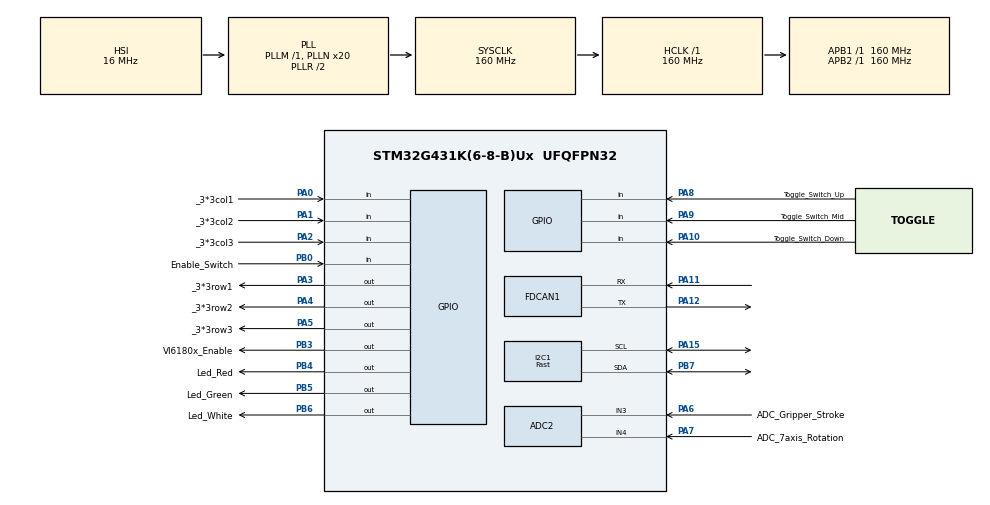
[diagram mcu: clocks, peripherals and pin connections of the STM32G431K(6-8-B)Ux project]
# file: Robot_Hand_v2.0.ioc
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ADC2.Channel-8\#ChannelRegularConversion=ADC_CHANNEL_3
ADC2.Channel-9\#ChannelRegularConversion=ADC_CHANNEL_4
ADC2.ClockPrescaler=ADC_CLOCK_ASYNC_DIV4
ADC2.ContinuousConvMode=ENABLE
ADC2.DMAContinuousRequests=ENABLE
ADC2.NbrOfConversion=2
ADC2.NbrOfConversionFlag=1
ADC2.OffsetNumber-8\#ChannelRegularConversion=ADC_OFFSET_NONE
ADC2.OffsetNumber-9\#ChannelRegularConversion=ADC_OFFSET_NONE
ADC2.Rank-8\#ChannelRegularConversion=1
ADC2.Rank-9\#ChannelRegularConversion=2
ADC2.SamplingTime-8\#ChannelRegularConversion=ADC_SAMPLETIME_24CYCLES_5
ADC2.SamplingTime-9\#ChannelRegularConversion=ADC_SAMPLETIME_24CYCLES_5
Dma.ADC2.0.Direction=DMA_PERIPH_TO_MEMORY
Dma.ADC2.0.EventEnable=DISABLE
Dma.ADC2.0.Instance=DMA1_Channel1
Dma.ADC2.0.MemDataAlignment=DMA_MDATAALIGN_HALFWORD
Dma.ADC2.0.MemInc=DMA_MINC_ENABLE
Dma.ADC2.0.Mode=DMA_CIRCULAR
Dma.ADC2.0.PeriphDataAlignment=DMA_PDATAALIGN_HALFWORD
Dma.ADC2.0.PeriphInc=DMA_PINC_DISABLE
Dma.ADC2.0.Polarity=HAL_DMAMUX_REQ_GEN_RISING
Dma.ADC2.0.Priority=DMA_PRIORITY_VERY_HIGH
Dma.ADC2.0.RequestNumber=1
Dma.ADC2.0.SignalID=NONE
Dma.ADC2.0.SyncEnable=DISABLE
Dma.ADC2.0.SyncPolarity=HAL_DMAMUX_SYNC_NO_EVENT
Dma.ADC2.0.SyncRequestNumber=1
Dma.ADC2.0.SyncSignalID=NONE
Dma.Request0=ADC2
FDCAN1.AutoRetransmission=ENABLE
FDCAN1.CalculateBaudRateNominal=1000000
FDCAN1.CalculateTimeBitNominal=1000
FDCAN1.CalculateTimeQuantumNominal=50.0
FDCAN1.DataPrescaler=4
FDCAN1.DataSyncJumpWidth=1
FDCAN1.DataTimeSeg1=7
FDCAN1.DataTimeSeg2=2
FDCAN1.FrameFormat=FDCAN_FRAME_FD_BRS
FDCAN1.NominalPrescaler=8
FDCAN1.NominalSyncJumpWidth=2
FDCAN1.NominalTimeSeg1=15
FDCAN1.NominalTimeSeg2=4
FDCAN1.StdFiltersNbr=1
I2C1.I2C_Speed_Mode=I2C_Fast
I2C1.Timing=0x10F32A82
IWDG.Prescaler=IWDG_PRESCALER_32
IWDG.Reload=2048
IWDG.Window=2048
Mcu.Family=STM32G4
Mcu.Name=STM32G431K(6-8-B)Ux
Mcu.Package=UFQFPN32
NVIC.DMA1_Channel1_IRQn=true\:0\:0\:false\:false\:true\:false\:true\:true
NVIC.FDCAN1_IT0_IRQn=true\:5\:0\:true\:false\:true\:true\:true\:true
NVIC.FDCAN1_IT1_IRQn=true\:5\:0\:true\:false\:true\:true\:true\:true
NVIC.PriorityGroup=NVIC_PRIORITYGROUP_4
NVIC.TIM7_IRQn=true\:1\:0\:true\:false\:true\:true\:true\:true
PA0.GPIO_Label=_3*3col1
PA0.GPIO_PuPd=GPIO_PULLUP
PA0.Signal=GPIO_Input
PA1.GPIO_Label=_3*3col2
PA1.GPIO_PuPd=GPIO_PULLUP
PA1.Signal=GPIO_Input
PA10.GPIO_Label=Toggle_Switch_Down
PA10.Signal=GPIO_Input
PA11.Mode=FDCAN_Activate
PA11.Signal=FDCAN1_RX
PA12.Mode=FDCAN_Activate
PA12.Signal=FDCAN1_TX
PA13.Mode=Serial_Wire
PA13.Signal=SYS_JTMS-SWDIO
PA14.Mode=Serial_Wire
PA14.Signal=SYS_JTCK-SWCLK
PA15.Mode=I2C
PA15.Signal=I2C1_SCL
PA2.GPIO_Label=_3*3col3
PA2.GPIO_PuPd=GPIO_PULLUP
PA2.Signal=GPIO_Input
PA3.GPIO_Label=_3*3row1
PA3.PinState=GPIO_PIN_SET
PA3.Signal=GPIO_Output
PA4.GPIO_Label=_3*3row2
PA4.PinState=GPIO_PIN_SET
PA4.Signal=GPIO_Output
PA5.GPIO_Label=_3*3row3
PA5.PinState=GPIO_PIN_SET
PA5.Signal=GPIO_Output
PA6.GPIO_Label=ADC_Gripper_Stroke
PA6.Mode=IN3-Single-Ended
PA6.Signal=ADC2_IN3
PA7.GPIO_Label=ADC_7axis_Rotation
PA7.Mode=IN4-Single-Ended
PA7.Signal=ADC2_IN4
PA8.GPIO_Label=Toggle_Switch_Up
PA8.Signal=GPIO_Input
PA9.GPIO_Label=Toggle_Switch_Mid
PA9.Signal=GPIO_Input
PB0.GPIO_Label=Enable_Switch
PB0.Signal=GPIO_Input
PB3.GPIO_Label=Vl6180x_Enable
PB3.GPIO_Speed=GPIO_SPEED_FREQ_LOW
PB3.PinState=GPIO_PIN_SET
PB3.Signal=GPIO_Output
PB4.GPIO_Label=Led_Red
PB4.GPIO_Speed=GPIO_SPEED_FREQ_LOW
PB4.PinState=GPIO_PIN_SET
PB4.Signal=GPIO_Output
PB5.GPIO_Label=Led_Green
PB5.GPIO_Speed=GPIO_SPEED_FREQ_LOW
PB5.PinState=GPIO_PIN_SET
PB5.Signal=GPIO_Output
PB6.GPIO_Label=Led_White
PB6.Signal=GPIO_Output
PB7.Mode=I2C
PB7.Signal=I2C1_SDA
ProjectManager.HeapSize=0x200
ProjectManager.StackSize=0x400
ProjectManager.TargetToolchain=STM32CubeIDE
RCC.ADC12Freq_Value=160000000
RCC.AHBFreq_Value=160000000
RCC.APB1Freq_Value=160000000
RCC.APB1TimFreq_Value=160000000
RCC.APB2Freq_Value=160000000
RCC.APB2TimFreq_Value=160000000
RCC.CortexFreq_Value=160000000
RCC.EXTERNAL_CLOCK_VALUE=12288000
RCC.HCLKFreq_Value=160000000
RCC.HSE_VALUE=8000000
RCC.HSI48_VALUE=48000000
RCC.HSI_VALUE=16000000
RCC.LSE_VALUE=32768
RCC.PLLN=20
RCC.SYSCLKFreq_VALUE=160000000
RCC.SYSCLKSource=RCC_SYSCLKSOURCE_PLLCLK
RCC.USBFreq_Value=160000000
RCC.VCOOutputFreq_Value=320000000
TIM7.PeriodNoDither=1000
TIM7.Prescaler=160-1
VP_IWDG_VS_IWDG.Mode=IWDG_Activate
VP_SYS_VS_DBSignals.Mode=DisableDeadBatterySignals
VP_TIM7_VS_ClockSourceINT.Mode=Enable_Timer
board=custom

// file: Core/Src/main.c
/* USER CODE BEGIN Header */
/**
  ******************************************************************************
  * @file           : main.c
  * @brief          : Main program body
  ******************************************************************************
  * @attention
  *
  * Copyright (c) 2025 STMicroelectronics.
  * All rights reserved.
  *
  * This software is licensed under terms that can be found in the LICENSE file
  * in the root directory of this software component.
  * If no LICENSE file comes with this software, it is provided AS-IS.
  *
  ******************************************************************************
  */
/* USER CODE END Header */
#include "main.h"
#include "adc.h"
#include "dma.h"
#include "fdcan.h"
#include "i2c.h"
#include "iwdg.h"
#include "tim.h"
#include "gpio.h"

/* USER CODE BEGIN PV */
uint16_t g_Adc_Buffer[2] = {};
uint32_t g_ChipId = 0;
uint8_t g_VL6180xData = 0;
uint8_t g_SendData[20] = {};

extern uint8_t g_Key_Matrix[ROWS][COLS];
extern uint8_t g_Key_Matrix2[4];

void SendDataIntegration(void);
void StatusLightSwitch(void);
/* USER CODE END PV */

void SystemClock_Config(void);

int main(void)
{

  /* USER CODE BEGIN 1 */
  SCB->VTOR = FLASH_BASE | 0x10000;
  /* USER CODE END 1 */

  /* MCU Configuration--------------------------------------------------------*/

  /* Reset of all peripherals, Initializes the Flash interface and the Systick. */
  HAL_Init();

  /* Configure the system clock */
  SystemClock_Config();

  /* Initialize all configured peripherals */
  MX_GPIO_Init();
  MX_DMA_Init();
  MX_ADC2_Init();
  MX_FDCAN1_Init();
  MX_I2C1_Init();
  MX_IWDG_Init();
  MX_TIM7_Init();
  /* USER CODE BEGIN 2 */

  HAL_Delay(100);
  CanInit();

  HAL_TIM_Base_Start_IT(&htim7);
  InitTimer();
  StartAutoTimer(SOFT_TIME1,2);
  StartAutoTimer(SOFT_TIME2,10);
  StartAutoTimer(SOFT_TIME3,20);
  StartAutoTimer(SOFT_TIME4,50);

  HAL_ADC_Start_DMA(&hadc2,(uint32_t*)g_Adc_Buffer,2);

  InitFlash();
  ReadChipId(&g_ChipId);
  UpgradeFlashExamine();

  VL6180X_Init();

  /* USER CODE END 2 */

  /* Infinite loop */

  while (1)
  {

    /* USER CODE BEGIN 3 */
    if (1 == CheckTimer(SOFT_TIME1)) {
      /* 整合数据 */
      SendDataIntegration();

      SendHandState();
    }
    if (1 == CheckTimer(SOFT_TIME2)) {
      /* 采集按键数据 */
      KeyScan();
    }
    if (1 == CheckTimer(SOFT_TIME3)) {
      /* 采集传感器数据 */
      // VL6180X_Read_Range(&g_VL6180xData);
    }
    if (1 == CheckTimer(SOFT_TIME4)) {
      /* 状态灯切换 */
      StatusLightSwitch();
    }
  }
  /* USER CODE END 3 */
}

void SystemClock_Config(void)
{
  RCC_OscInitTypeDef RCC_OscInitStruct = {0};
  RCC_ClkInitTypeDef RCC_ClkInitStruct = {0};

  /** Configure the main internal regulator output voltage
  */
  HAL_PWREx_ControlVoltageScaling(PWR_REGULATOR_VOLTAGE_SCALE1_BOOST);

  /** Initializes the RCC Oscillators according to the specified parameters
  * in the RCC_OscInitTypeDef structure.
  */
  RCC_OscInitStruct.OscillatorType = RCC_OSCILLATORTYPE_HSI|RCC_OSCILLATORTYPE_LSI;
  RCC_OscInitStruct.HSIState = RCC_HSI_ON;
  RCC_OscInitStruct.HSICalibrationValue = RCC_HSICALIBRATION_DEFAULT;
  RCC_OscInitStruct.LSIState = RCC_LSI_ON;
  RCC_OscInitStruct.PLL.PLLState = RCC_PLL_ON;
  RCC_OscInitStruct.PLL.PLLSource = RCC_PLLSOURCE_HSI;
  RCC_OscInitStruct.PLL.PLLM = RCC_PLLM_DIV1;
  RCC_OscInitStruct.PLL.PLLN = 20;
  RCC_OscInitStruct.PLL.PLLP = RCC_PLLP_DIV2;
  RCC_OscInitStruct.PLL.PLLQ = RCC_PLLQ_DIV2;
  RCC_OscInitStruct.PLL.PLLR = RCC_PLLR_DIV2;
  if (HAL_RCC_OscConfig(&RCC_OscInitStruct) != HAL_OK)
  {
    Error_Handler();
  }

  /** Initializes the CPU, AHB and APB buses clocks
  */
  RCC_ClkInitStruct.ClockType = RCC_CLOCKTYPE_HCLK|RCC_CLOCKTYPE_SYSCLK
                              |RCC_CLOCKTYPE_PCLK1|RCC_CLOCKTYPE_PCLK2;
  RCC_ClkInitStruct.SYSCLKSource = RCC_SYSCLKSOURCE_PLLCLK;
  RCC_ClkInitStruct.AHBCLKDivider = RCC_SYSCLK_DIV1;
  RCC_ClkInitStruct.APB1CLKDivider = RCC_HCLK_DIV1;
  RCC_ClkInitStruct.APB2CLKDivider = RCC_HCLK_DIV1;

  if (HAL_RCC_ClockConfig(&RCC_ClkInitStruct, FLASH_LATENCY_4) != HAL_OK)
  {
    Error_Handler();
  }
}

/* USER CODE BEGIN 4 */
/**
 * @brief       数据整合
 * @param       **
 * @retval      **
 */
void SendDataIntegration(void)
{
  /* IO阵列按键数据处理 */
  for (int i = 0; i < 3; i++) {
    for (int j = 0; j < 3; j++) {
      g_SendData[i*3+j] = g_Key_Matrix[j][i];
    }
  }

  /* 单独按键处理 */
  for (int i = 0; i < 4; i++) {
    g_SendData[9+i] = g_Key_Matrix2[i];
  }

  /* 电位器1采集数据处理 */
  g_SendData[13] = g_Adc_Buffer[1] * 200 / 2650;

  /* 电位器2采集数据处理 */
  uint16_t temp_angle1 = ((uint32_t)g_Adc_Buffer[0] * 0x1FFF / 2650) << 3;

  temp_angle1 -= (flash_param.zero << 3);

  if (flash_param.direction == 1) {
    temp_angle1 = 65535 - temp_angle1;
  }
  int16_t temp_angle2 = (int16_t)temp_angle1;
  temp_angle2 = (int32_t)temp_angle2 * 360 * 128 / 65535;

  BitToHex_value _temphex;
  _temphex.hex = (int16_t)temp_angle2;
  g_SendData[14] = _temphex.bit[0];
  g_SendData[15] = _temphex.bit[1];
}

/**
 * @brief       状态灯切换
 * @param       **
 * @retval      **
 */
void StatusLightSwitch(void)
{
  /* 使能 && 检测传感器没有被握住 */
  // if (g_VL6180xData > 20 && (HAL_GPIO_ReadPin(Enable_Switch_GPIO_Port, Enable_Switch_Pin) == GPIO_PIN_SET)) {
  //   HAL_GPIO_WritePin(Led_Green_GPIO_Port, Led_Green_Pin, GPIO_PIN_RESET);
  // }
  //
  // /* 使能 && 检测传感器被握住 */
  // if (g_VL6180xData < 20 && (HAL_GPIO_ReadPin(Enable_Switch_GPIO_Port, Enable_Switch_Pin) == GPIO_PIN_SET)) {
  //   HAL_GPIO_WritePin(Led_Green_GPIO_Port, Led_Green_Pin, GPIO_PIN_SET);
  // }

  /* 发生异常 */
  if ((HAL_GPIO_ReadPin(Enable_Switch_GPIO_Port, Enable_Switch_Pin) == GPIO_PIN_SET)) {
    HAL_GPIO_WritePin(Led_Green_GPIO_Port, Led_Green_Pin, GPIO_PIN_RESET);
  }

  /* 使能 && 检测传感器被握住 */
  if ((HAL_GPIO_ReadPin(Enable_Switch_GPIO_Port, Enable_Switch_Pin) == GPIO_PIN_RESET)) {
    HAL_GPIO_WritePin(Led_Green_GPIO_Port, Led_Green_Pin, GPIO_PIN_SET);
  }
  /* 绿灯上电后是否常亮 */

}
/* USER CODE END 4 */

void Error_Handler(void)
{
  __disable_irq();
  while (1)
  {
  }
}
